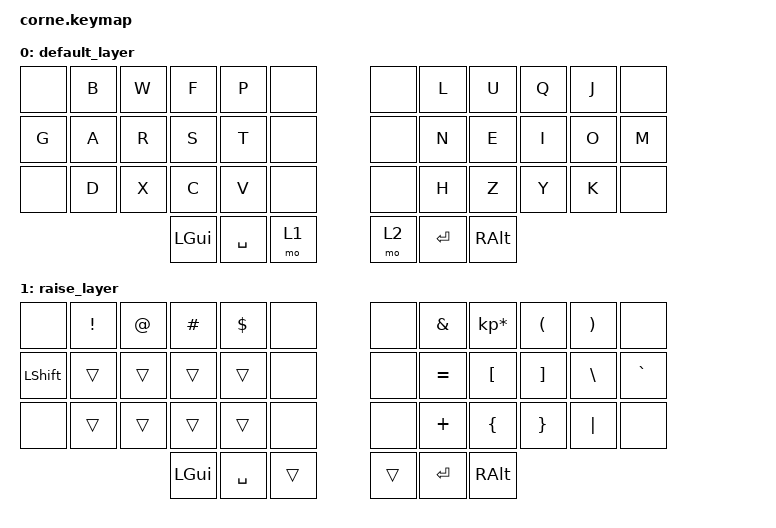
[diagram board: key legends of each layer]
/*
 * Copyright (c) 2020 The ZMK Contributors
 *
 * SPDX-License-Identifier: MIT
 */

#include <behaviors.dtsi>
#include <dt-bindings/zmk/keys.h>
#include <dt-bindings/zmk/bt.h>

/ {
        keymap {
                compatible = "zmk,keymap";

                default_layer {
//                        Pinky           Ring            Middle          Index                                                           Index           Middle          Ring            Pinky
//      -----------------------------------------------------------------------------------------------------------------------------------------------------------------------------------------------------------------
//      |               | B             | W             | F             | P             |               | ||||||||||||| |               | L             | U             | Q             | J             |               |
//      | G             | A             | R             | S             | T             |               | ||||||||||||| |               | N             | E             | I             | O             | M             |
//      |               | D             | X             | C             | V             |               | ||||||||||||| |               | H             | Z             | Y             | K             |               |
//                                                      | GUI           | SPC           | LWR           | ||||||||||||| | RSE           | ENT           | ALT           |
                        bindings = <
          &none           &kp B           &kp W           &kp F           &kp P           &none                           &none           &kp L           &kp U           &kp Q           &kp J           &none
          &kp G           &kp A           &kp R           &kp S           &kp T           &none                           &none           &kp N           &kp E           &kp I           &kp O           &kp M
          &none           &kp D           &kp X           &kp C           &kp V           &none                           &none           &kp H           &kp Z           &kp Y           &kp K           &none
                                                          &kp LGUI        &kp SPACE       &mo 1                           &mo 2           &kp RET           &kp RALT
                        >;                                                                                                                                              
                };

                raise_layer {
//                        Pinky           Ring            Middle          Index                                                           Index           Middle          Ring            Pinky
//      -----------------------------------------------------------------------------------------------------------------------------------------------------------------------------------------------------------------
//      |               | !             | @             | #             | $             |               | ||||||||||||| |               | &             | *             | (             | )             |               |
//      | SHFT          |               |               |               |               |               | ||||||||||||| |               | =             | [             | ]             | \             | `             |
//      |               |               |               |               |               |               | ||||||||||||| |               | +             | {             | }             | "|"           |               |
//                                                      | GUI           | SPC           |               | ||||||||||||| |               | ENT           | ALT           |
                        bindings = <
          &none           &kp EXCL        &kp AT          &kp HASH        &kp DLLR        &none                           &none           &kp AMPS        &kp KP_MULTIPLY &kp LPAR        &kp RPAR        &none
          &kp LSHFT       &trans          &trans          &trans          &trans          &none                           &none           &kp EQUAL       &kp LBKT        &kp RBKT        &kp BSLH        &kp GRAVE
          &none           &trans          &trans          &trans          &trans          &none                           &none           &kp PLUS        &kp LBRC        &kp RBRC        &kp PIPE        &none
                    	                                  &kp LGUI        &kp SPACE       &trans                          &trans          &kp RET          &kp RALT
                        >;
                };
        };

                lower_layer {
//                        Pinky           Ring            Middle          Index                                                           Index           Middle          Ring            Pinky
//      -----------------------------------------------------------------------------------------------------------------------------------------------------------------------------------------------------------------
//      |               | 1             | 2             | 3             | 4             |               | ||||||||||||| |               | 7             | 8             | 9             | 0             |               |
//      | BTCLR         | BT1           | BT2           | BT3           | BT4           |               | ||||||||||||| |               | DWN           | UP            | RGT           |               |               |
//      |               |               |               |               |               |               | ||||||||||||| |               |               |               |               |               |               |
//                                                      | GUI           | SPC           |               | ||||||||||||| |               | ENT           | ALT           |
                        bindings = <
          &none           &kp N1          &kp N2          &kp N3          &kp N4          &none                           &none           &kp N7          &kp N8          &kp N9          &kp N0          &none
          &bt BT_CLR      &bt BT_SEL 0    &bt BT_SEL 1    &bt BT_SEL 2    &bt BT_SEL 3    &none                           &none           &kp DOWN        &kp UP          &kp RIGHT       &trans          &trans
          &none           &trans          &trans          &trans          &trans          &none                           &none           &trans          &trans          &trans          &trans          &none
                          	                          &kp LGUI        &kp SPACE       &trans                          &trans          &kp RET         &kp RALT
                        >;
                };

};
